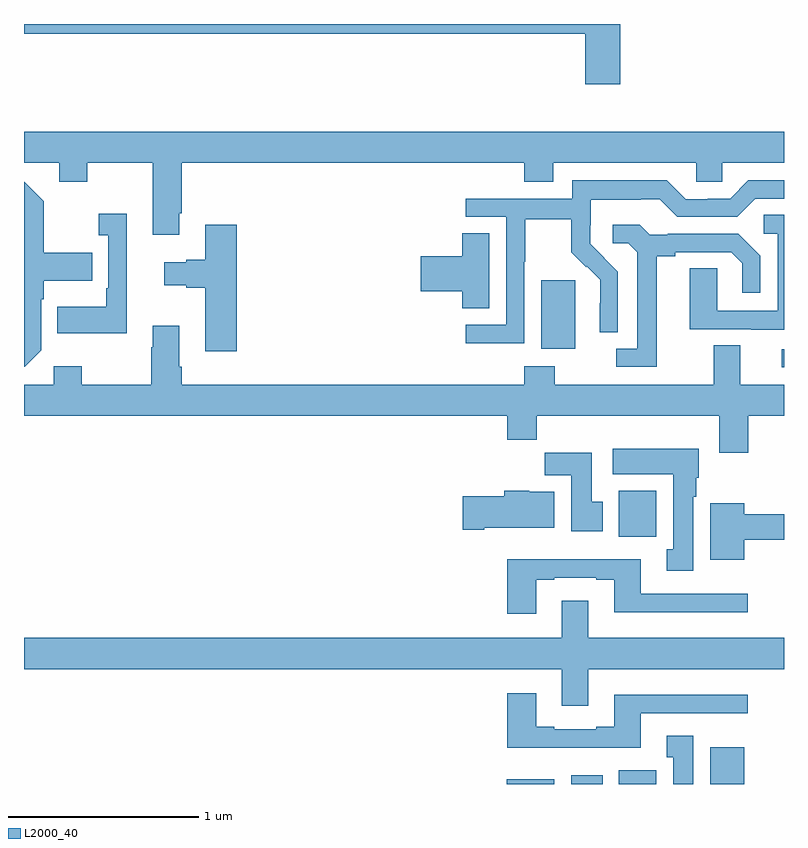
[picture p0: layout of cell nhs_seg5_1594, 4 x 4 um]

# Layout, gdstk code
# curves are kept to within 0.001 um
import gdstk
lib = gdstk.Library(unit=1e-6, precision=1e-09)
def R(c, l, rs):  # rectangles x0, y0, x1, y1
    for r in rs: c.add(gdstk.rectangle(r[:2], r[2:], *l))
def P(c, l, *ps):  # polygons
    for p in ps: c.add(gdstk.Polygon(p, *l))
L2000_40 = (2000, 40)

nhs_seg5_1594 = lib.new_cell('nhs_seg5_1594')
R(nhs_seg5_1594, L2000_40, [(209.54,878.799,209.791,878.824), (209.879,878.799,210.046,878.845), (210.131,878.799,210.328,878.872), (210.611,878.799,210.79,878.992), (210.131,880.1,210.328,880.342), (210.987,880.992,211,881.088), (209.723,881.09,209.902,881.451)])
P(nhs_seg5_1594, L2000_40, [(210.137,882.799),(207,882.799),(207,882.748),(209.954,882.748),(209.954,882.483),(210.137,882.483)],
  [(207.817,881.803),(207.83,881.803),(207.83,882.068),(209.633,882.068),(209.633,881.969),(209.785,881.969),(209.785,882.068),(210.537,882.068),(210.537,881.97),(210.675,881.97),(210.675,882.068),(211,882.068),(211,882.232),(207,882.232),(207,882.068),(207.185,882.068),(207.185,881.969),(207.333,881.969),(207.333,882.068),(207.677,882.068),(207.677,881.691),(207.817,881.691)],
  [(209.634,881.548),(209.637,881.548),(209.637,881.772),(209.881,881.772),(209.881,881.597),(209.958,881.52),(209.961,881.523),(210.032,881.453),(210.032,881.33),(210.03,881.33),(210.03,881.176),(210.126,881.176),(210.126,881.494),(209.98,881.642),(209.98,881.739),(209.982,881.739),(209.982,881.873),(210.245,881.873),(210.245,881.877),(210.345,881.877),(210.438,881.784),(210.753,881.784),(210.849,881.88),(211,881.88),(211,881.976),(210.813,881.976),(210.717,881.88),(210.599,881.88),(210.599,881.877),(210.483,881.877),(210.383,881.977),(209.886,881.977),(209.886,881.88),(209.325,881.88),(209.325,881.784),(209.538,881.784),(209.538,881.217),(209.325,881.217),(209.325,881.119),(209.634,881.119)],
  [(207.09,881.082),(207.09,881.351),(207.103,881.351),(207.103,881.447),(207.359,881.447),(207.359,881.595),(207.103,881.595),(207.103,881.867),(207,881.97),(207,880.995),(207.003,880.995)],
  [(207.542,881.8),(207.393,881.8),(207.393,881.687),(207.444,881.687),(207.444,881.407),(207.432,881.407),(207.432,881.311),(207.175,881.311),(207.175,881.171),(207.542,881.171)],
  [(211,881.795),(210.894,881.795),(210.894,881.694),(210.966,881.694),(210.966,881.289),(210.648,881.289),(210.648,881.513),(210.503,881.513),(210.503,881.193),(210.827,881.193),(210.827,881.189),(211,881.189)],
  [(208.121,881.743),(207.953,881.743),(207.953,881.558),(207.854,881.558),(207.854,881.545),(207.738,881.545),(207.738,881.423),(207.854,881.423),(207.854,881.411),(207.953,881.411),(207.953,881.076),(208.121,881.076)],
  [(210.331,881.576),(210.427,881.576),(210.427,881.598),(210.722,881.598),(210.779,881.541),(210.779,881.385),(210.876,881.385),(210.876,881.578),(210.76,881.694),(210.388,881.694),(210.388,881.691),(210.294,881.691),(210.242,881.743),(210.099,881.743),(210.099,881.646),(210.18,881.646),(210.227,881.599),(210.227,881.091),(210.117,881.091),(210.117,880.995),(210.331,880.995)],
  [(209.449,881.699),(209.306,881.699),(209.306,881.576),(209.088,881.576),(209.088,881.393),(209.306,881.393),(209.306,881.302),(209.449,881.302)],
  [(209.543,880.612),(209.699,880.612),(209.699,880.736),(210.659,880.736),(210.659,880.542),(210.812,880.542),(210.812,880.736),(211,880.736),(211,880.9),(210.769,880.9),(210.769,881.108),(210.629,881.108),(210.629,880.9),(209.793,880.9),(209.793,880.999),(209.633,880.999),(209.633,880.9),(207.83,880.9),(207.83,880.996),(207.817,880.996),(207.817,881.212),(207.677,881.212),(207.677,881.099),(207.67,881.099),(207.67,880.9),(207.303,880.9),(207.303,880.999),(207.156,880.999),(207.156,880.9),(207,880.9),(207,880.736),(209.543,880.736)],
  [(210.523,880.31),(210.538,880.31),(210.538,880.41),(210.55,880.41),(210.55,880.564),(210.099,880.564),(210.099,880.43),(210.416,880.43),(210.416,880.034),(210.383,880.034),(210.383,879.921),(210.523,879.921)],
  [(210.046,880.284),(209.989,880.284),(209.989,880.543),(209.74,880.543),(209.74,880.424),(209.879,880.424),(209.879,880.128),(210.046,880.128)],
  [(209.422,880.148),(209.791,880.148),(209.791,880.336),(209.658,880.336),(209.658,880.342),(209.528,880.342),(209.528,880.314),(209.31,880.314),(209.31,880.136),(209.422,880.136)],
  [(210.79,880.084),(211,880.084),(211,880.22),(210.79,880.22),(210.79,880.276),(210.611,880.276),(210.611,879.98),(210.79,879.98)],
  [(209.695,879.873),(209.791,879.873),(209.791,879.885),(210.011,879.885),(210.011,879.873),(210.107,879.873),(210.107,879.704),(210.808,879.704),(210.808,879.801),(210.247,879.801),(210.247,879.982),(209.543,879.982),(209.543,879.696),(209.695,879.696)],
  [(209.971,879.404),(211,879.404),(211,879.568),(209.971,879.568),(209.971,879.763),(209.831,879.763),(209.831,879.568),(207,879.568),(207,879.404),(209.831,879.404),(209.831,879.21),(209.971,879.21)],
  [(210.247,879.171),(210.808,879.171),(210.808,879.268),(210.107,879.268),(210.107,879.1),(210.011,879.1),(210.011,879.087),(209.791,879.087),(209.791,879.1),(209.695,879.1),(209.695,879.277),(209.543,879.277),(209.543,878.99),(210.247,878.99)],
  [(210.523,879.052),(210.383,879.052),(210.383,878.939),(210.416,878.939),(210.416,878.799),(210.523,878.799)])

lib.write_gds('nhs_seg5_1594.gds')
